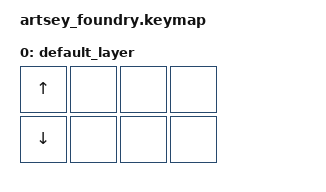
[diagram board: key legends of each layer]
#include <behaviors.dtsi>
#include <dt-bindings/zmk/keys.h>

/ {
    keymap {
        compatible = "zmk,keymap";

        default_layer {
            bindings = <
                &kp UP  &none  &none  &none
                &kp DOWN  &none  &none  &none
            >;
        };
    };
};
